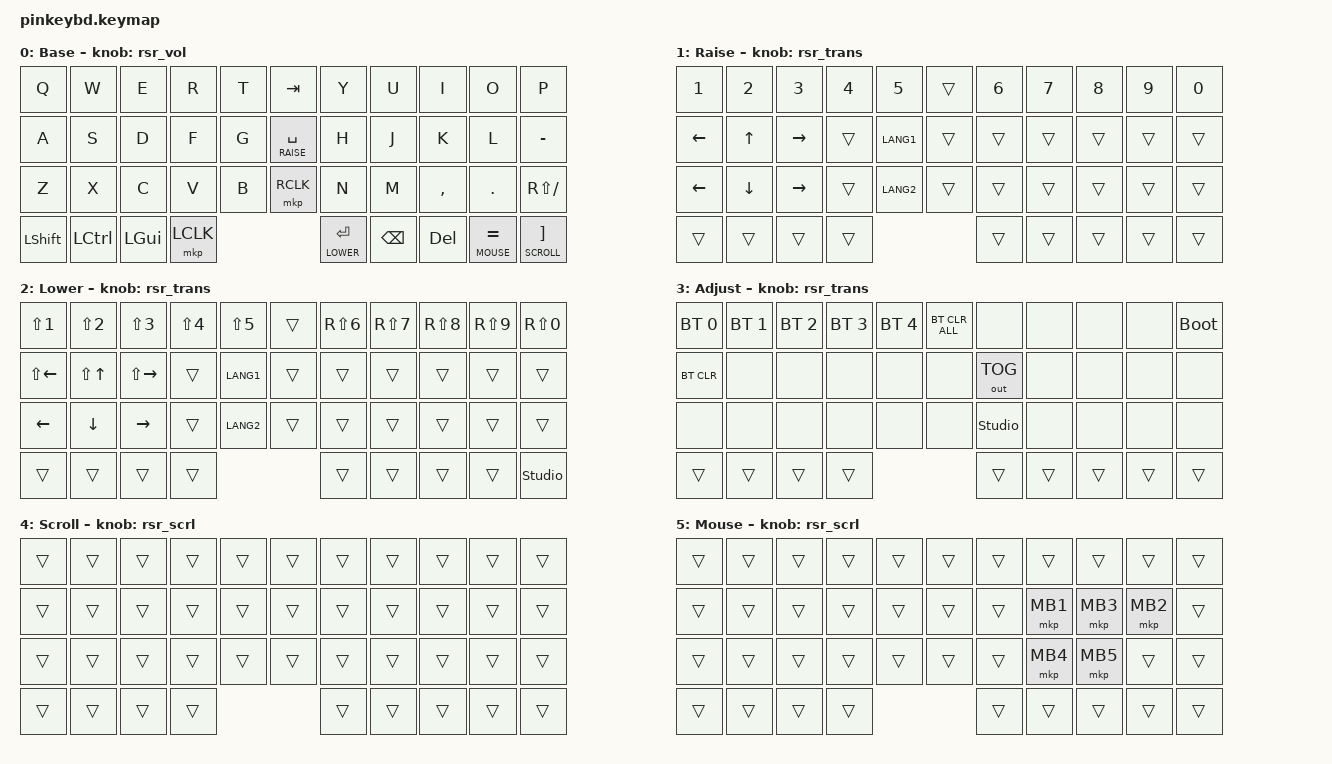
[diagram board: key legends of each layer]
#include <behaviors.dtsi>
#include <dt-bindings/zmk/bt.h>
#include <dt-bindings/zmk/keys.h>
#include <dt-bindings/zmk/outputs.h>
#include <dt-bindings/zmk/pointing.h>
#include <behaviors/runtime-sensor-rotate.dtsi>

#define ZMK_POINTING_DEFAULT_SCRL_VAL 80

#define BASE   0
#define RAISE  1
#define LOWER  2
#define ADJUST 3
#define SCROLL 4
#define MOUSE  5

&lt { tapping-term-ms = <140>; };

&trackball {
    automouse-layer = <MOUSE>;
    scroll-layers = <SCROLL>;
};

/ {
    behaviors {
        // ロータリーエンコーダー（DYA Studioから変更可。以下は初期値）
        rsr_vol: rsr_vol {
            compatible = "zmk,behavior-runtime-sensor-rotate";
            #sensor-binding-cells = <0>;
            tap-ms = <5>;
            cw-binding = <&kp C_VOL_UP>;
            ccw-binding = <&kp C_VOL_DN>;
        };
        rsr_scrl: rsr_scrl {
            compatible = "zmk,behavior-runtime-sensor-rotate";
            #sensor-binding-cells = <0>;
            tap-ms = <20>;
            cw-binding = <&msc SCRL_DOWN>;
            ccw-binding = <&msc SCRL_UP>;
        };
    };

    combos {
        compatible = "zmk,combos";

        cl {
            bindings = <&kp LEFT_CONTROL>;
            key-positions = <0 1>;
        };
    };

    conditional_layers {
        compatible = "zmk,conditional-layers";
        tri_layer {
            if-layers = <RAISE LOWER>;
            then-layer = <ADJUST>;
        };
    };

    keymap {
        compatible = "zmk,keymap";

        default_layer {
            display-name = "Base";
            bindings = <
&kp Q      &kp W      &kp E     &kp R      &kp T  &kp TAB           &kp Y          &kp U     &kp I    &kp O           &kp P
&kp A      &kp S      &kp D     &kp F      &kp G  &lt RAISE SPACE   &kp H          &kp J     &kp K    &kp L           &kp MINUS
&kp Z      &kp X      &kp C     &kp V      &kp B  &mkp RCLK         &kp N          &kp M     &kp COMMA &kp DOT        &kp RS(FSLH)
&kp LSHFT  &kp LCTRL  &kp LGUI  &mkp LCLK                           &lt LOWER RET  &kp BSPC  &kp DEL  &lt MOUSE EQUAL &lt SCROLL RBKT
            >;
            sensor-bindings = <&rsr_vol>;
        };

        raise_layer {
            display-name = "Raise";
            bindings = <
&kp N1    &kp N2    &kp N3     &kp N4  &kp N5     &trans   &kp N6  &kp N7  &kp N8  &kp N9  &kp N0
&kp LEFT  &kp UP    &kp RIGHT  &trans  &kp LANG1  &trans   &trans  &trans  &trans  &trans  &trans
&kp LEFT  &kp DOWN  &kp RIGHT  &trans  &kp LANG2  &trans   &trans  &trans  &trans  &trans  &trans
&trans    &trans    &trans     &trans                      &trans  &trans  &trans  &trans  &trans
            >;
            sensor-bindings = <&rsr_trans>;
        };

        lower_layer {
            display-name = "Lower";
            bindings = <
&kp LS(N1)    &kp LS(N2)  &kp LS(N3)     &kp LS(N4)  &kp LS(N5)  &trans   &kp RS(N6)  &kp RS(N7)  &kp RS(N8)  &kp RS(N9)  &kp RS(N0)
&kp LS(LEFT)  &kp LS(UP)  &kp LS(RIGHT)  &trans      &kp LANG1   &trans   &trans      &trans      &trans      &trans      &trans
&kp LEFT      &kp DOWN    &kp RIGHT      &trans      &kp LANG2   &trans   &trans      &trans      &trans      &trans      &trans
&trans        &trans      &trans         &trans                           &trans      &trans      &trans      &trans      &studio_unlock
            >;
            sensor-bindings = <&rsr_trans>;
        };

        adjust_layer {
            display-name = "Adjust";
            bindings = <
&bt BT_SEL 0  &bt BT_SEL 1  &bt BT_SEL 2  &bt BT_SEL 3  &bt BT_SEL 4  &bt BT_CLR_ALL   &none           &none  &none  &none  &bootloader
&bt BT_CLR    &none         &none         &none         &none         &none            &out OUT_TOG    &none  &none  &none  &none
&none         &none         &none         &none         &none         &none            &studio_unlock  &none  &none  &none  &none
&trans        &trans        &trans        &trans                                       &trans          &trans &trans &trans &trans
            >;
            sensor-bindings = <&rsr_trans>;
        };

        scroll_layer {
            display-name = "Scroll";
            bindings = <
&trans  &trans  &trans  &trans  &trans  &trans   &trans  &trans  &trans  &trans  &trans
&trans  &trans  &trans  &trans  &trans  &trans   &trans  &trans  &trans  &trans  &trans
&trans  &trans  &trans  &trans  &trans  &trans   &trans  &trans  &trans  &trans  &trans
&trans  &trans  &trans  &trans                   &trans  &trans  &trans  &trans  &trans
            >;
            sensor-bindings = <&rsr_scrl>;
        };

        mouse_layer {
            display-name = "Mouse";
            bindings = <
&trans  &trans  &trans  &trans  &trans  &trans   &trans    &trans    &trans    &trans    &trans
&trans  &trans  &trans  &trans  &trans  &trans   &trans    &mkp MB1  &mkp MB3  &mkp MB2  &trans
&trans  &trans  &trans  &trans  &trans  &trans   &trans    &mkp MB4  &mkp MB5  &trans    &trans
&trans  &trans  &trans  &trans                   &trans    &trans    &trans    &trans    &trans
            >;
            sensor-bindings = <&rsr_scrl>;
        };
    };
};
